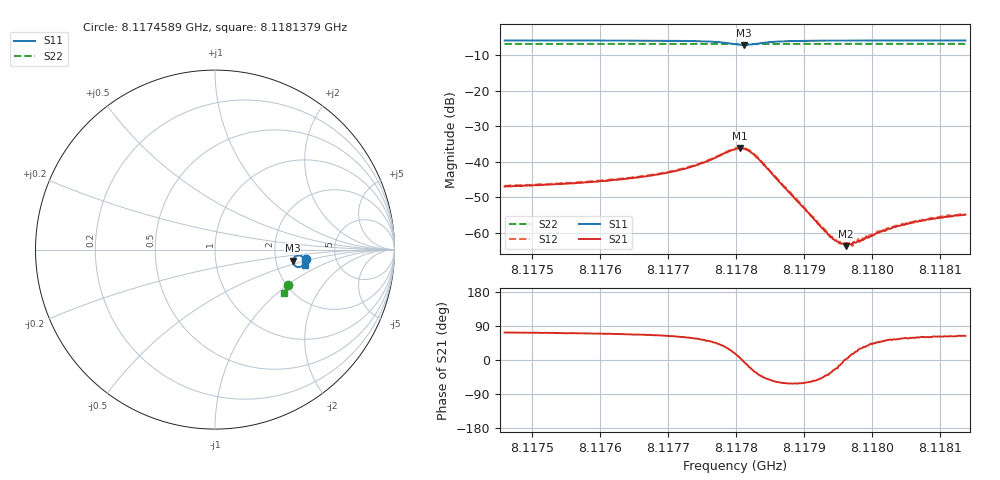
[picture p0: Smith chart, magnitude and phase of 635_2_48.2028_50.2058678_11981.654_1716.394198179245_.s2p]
#  HZ  S  RI  R  50.00
! Rohde & Schwarz Vector Network Analyzer
! Rohde-Schwarz,ZNB20-2Port,1311601062101988,3.16
! Created: UTC 3/20/2024, 12:04:35 PM
! freq[Hz]  re:S11  im:S11  re:S21  im:S21  re:S12  im:S12  re:S22  im:S22
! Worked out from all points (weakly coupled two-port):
!   401 points, 8.1174589 GHz to 8.1181379 GHz, reference 50 ohm
!   highest |S21| = -36.19 dB at 8.1178052 GHz (marker M1); lowest = -63.8 dB at 8.1179614 GHz (marker M2)
!   lowest |S11| = -7.2 dB at 8.117812 GHz (marker M3), VSWR 2.56, Z = 125 - j18.8 ohm
!   |S11| at or under -10 dB: nowhere
!   |S22| runs from -6.9 to -6.8 dB; largest |S21 - S12| = 0.00055
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8.11745891e9  0.5044 -0.051  0.00134 0.00424  0.00138 0.00435  0.4066 -0.1987
8.11757264e9  0.5023 -0.0621  0.00172 0.00477  0.00177 0.00487  0.4033 -0.206
8.11764054e9  0.5002 -0.0702  0.00216 0.00534  0.00223 0.00546  0.4013 -0.2103
8.11768637e9  0.4972 -0.0773  0.00279 0.00601  0.0029 0.00613  0.3997 -0.2135
8.117739e9  0.4887 -0.0887  0.00476 0.00734  0.0049 0.00748  0.3976 -0.2168
8.11779841e9  0.4414 -0.0865  0.0143 0.00435  0.0146 0.00456  0.3939 -0.2199
8.1178052e9  0.4351 -0.0751  0.0154 0.00168  0.0156 0.00164  0.3934 -0.2195
8.11781199e9  0.4337 -0.0609  0.0152 -0.00153  0.0154 -0.0016  0.3934 -0.2194
8.11782217e9  0.443 -0.0419  0.0125 -0.0053  0.0128 -0.00548  0.3935 -0.2193
8.11783066e9  0.4561 -0.034  0.0094 -0.00644  0.00976 -0.00686  0.394 -0.2195
8.11786122e9  0.4873 -0.0402  0.00291 -0.00468  0.00298 -0.00485  0.3946 -0.222
8.11791214e9  0.4985 -0.0579  0.000914 -0.00139  0.000866 -0.00144  0.3932 -0.2261
8.117941e9  0.4997 -0.0643  0.000735 -0.000451  0.000754 -0.000478  0.3922 -0.228
8.11795288e9  0.4999 -0.0665  0.000683 -0.000168  0.000733 -0.00018  0.3919 -0.2289
8.11796137e9  0.5002 -0.0678  0.000647 7.27e-06  0.000718 3.45e-05  0.3915 -0.2293
8.11797155e9  0.5003 -0.0695  0.000683 0.0002  0.000635 0.000133  0.3913 -0.2298
8.11797665e9  0.5003 -0.0702  0.000673 0.000272  0.000708 0.00028  0.3912 -0.2304
8.11798513e9  0.5002 -0.0715  0.000691 0.000416  0.00071 0.000412  0.3909 -0.2308
8.1180055e9  0.5002 -0.0742  0.000696 0.000675  0.000702 0.000742  0.3903 -0.2322
8.11802587e9  0.5 -0.0767  0.00068 0.000912  0.000675 0.000902  0.3895 -0.2334
8.11808359e9  0.4994 -0.083  0.000771 0.00133  0.000748 0.00136  0.3874 -0.237
8.11813791e9  0.4988 -0.0882  0.000801 0.0016  0.000835 0.00161  0.3854 -0.2405
